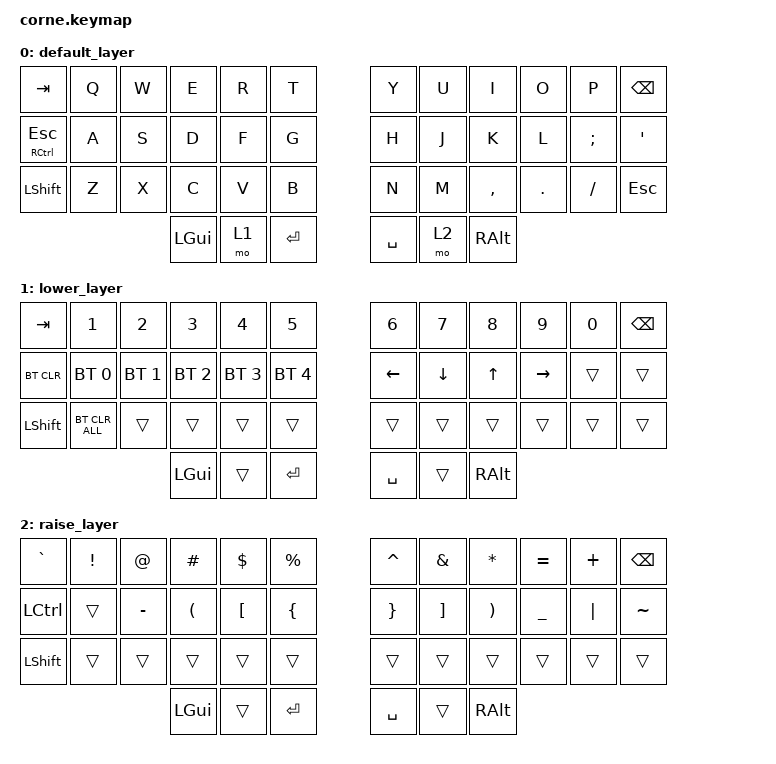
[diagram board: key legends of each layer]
/*
 * Copyright (c) 2020 The ZMK Contributors
 *
 * SPDX-License-Identifier: MIT
 */

#include <behaviors.dtsi>
#include <dt-bindings/zmk/bt.h>
#include <dt-bindings/zmk/keys.h>

/ {
    behaviors {
        escape: escape {
            compatible = "zmk,behavior-hold-tap";
            label = "ESCAPE";
            bindings = <&kp>, <&kp>;

            #binding-cells = <2>;
            tapping-term-ms = <200>;
        };
    };

    keymap {
        compatible = "zmk,keymap";

        default_layer {
            // -----------------------------------------------------------------------------------------
            // |  TAB |  Q  |  W  |  E  |  R  |  T  |   |  Y  |  U   |  I  |  O  |  P  | BKSP |
            // | CTRL |  A  |  S  |  D  |  F  |  G  |   |  H  |  J   |  K  |  L  |  ;  |  '   |
            // | SHFT |  Z  |  X  |  C  |  V  |  B  |   |  N  |  M   |  ,  |  .  |  /  | ESC  |
            //                    | GUI | LWR | SPC |   | ENT | RSE  | ALT |

            bindings = <
&kp TAB                       &kp Q  &kp W  &kp E     &kp R  &kp T        &kp Y      &kp U  &kp I          &kp O    &kp P     &kp BSPC
&escape RIGHT_CONTROL ESCAPE  &kp A  &kp S  &kp D     &kp F  &kp G        &kp H      &kp J  &kp K          &kp L    &kp SEMI  &kp SQT
&kp LSHFT                     &kp Z  &kp X  &kp C     &kp V  &kp B        &kp N      &kp M  &kp COMMA      &kp DOT  &kp FSLH  &kp ESC
                                            &kp LGUI  &mo 1  &kp ENTER    &kp SPACE  &mo 2  &kp RIGHT_ALT
            >;
        };

        lower_layer {
            // -----------------------------------------------------------------------------------------
            // |  TAB |  1  |  2  |  3  |  4  |  5  |   |  6  |  7  |  8  |  9  |  0  | BKSP |
            // | BTCLR| BT1 | BT2 | BT3 | BT4 | BT5 |   | LFT | DWN |  UP | RGT |     |      |
            // | SHFT |     |     |     |     |     |   |     |     |     |     |     |      |
            //                    | GUI |     | SPC |   | ENT |     | ALT |

            bindings = <
&kp TAB     &kp N1          &kp N2        &kp N3        &kp N4        &kp N5          &kp N6     &kp N7    &kp N8    &kp N9     &kp N0  &kp BSPC
&bt BT_CLR  &bt BT_SEL 0    &bt BT_SEL 1  &bt BT_SEL 2  &bt BT_SEL 3  &bt BT_SEL 4    &kp LEFT   &kp DOWN  &kp UP    &kp RIGHT  &trans  &trans
&kp LSHFT   &bt BT_CLR_ALL  &trans        &trans        &trans        &trans          &trans     &trans    &trans    &trans     &trans  &trans
                                          &kp LGUI      &trans        &kp ENTER       &kp SPACE  &trans    &kp RALT
            >;
        };

        raise_layer {
            // -----------------------------------------------------------------------------------------
            // |  TAB |  !  |  @  |  #  |  $  |  %  |   |  ^  |  &  |  *  |  (  |  )  | BKSP |
            // | CTRL |     |     |     |     |     |   |  -  |  =  |  [  |  ]  |  \  |  `   |
            // | SHFT |     |     |     |     |     |   |  _  |  +  |  {  |  }  | "|" |  ~   |
            //                    | GUI |     | SPC |   | ENT |     | ALT |

            bindings = <
&kp GRAVE  &kp EXCL  &kp AT     &kp HASH              &kp DLLR          &kp PRCNT         &kp CARET        &kp AMPS           &kp ASTRK              &kp EQUAL  &kp PLUS  &kp BSPC
&kp LCTRL  &trans    &kp MINUS  &kp LEFT_PARENTHESIS  &kp LEFT_BRACKET  &kp LEFT_BRACE    &kp RIGHT_BRACE  &kp RIGHT_BRACKET  &kp RIGHT_PARENTHESIS  &kp UNDER  &kp PIPE  &kp TILDE
&kp LSHFT  &trans    &trans     &trans                &trans            &trans            &trans           &trans             &trans                 &trans     &trans    &trans
                                &kp LGUI              &trans            &kp ENTER         &kp SPACE        &trans             &kp RALT
            >;
        };
    };
};
